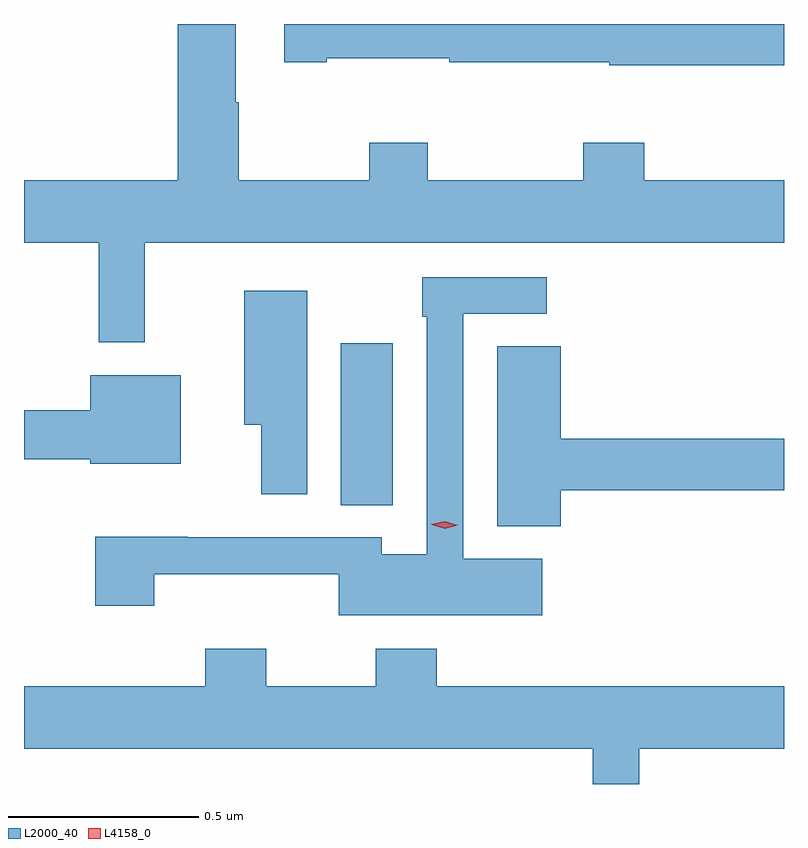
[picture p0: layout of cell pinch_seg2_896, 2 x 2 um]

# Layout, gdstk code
import gdstk
lib = gdstk.Library(unit=1e-6, precision=1e-09)
def R(c, l, rs):  # rectangles x0, y0, x1, y1
    for r in rs: c.add(gdstk.rectangle(r[:2], r[2:], *l))
def P(c, l, *ps):  # polygons
    for p in ps: c.add(gdstk.Polygon(p, *l))
L2000_40 = (2000, 40)
L4158_0 = (4158, 0)

pinch_seg2_896 = lib.new_cell('pinch_seg2_896')
R(pinch_seg2_896, L2000_40, [(486.806,604.321,486.943,604.747)])
P(pinch_seg2_896, L2000_40, [(486.29,605.012),(487.972,605.012),(487.972,605.176),(487.604,605.176),(487.604,605.275),(487.444,605.275),(487.444,605.176),(487.035,605.176),(487.035,605.275),(486.88,605.275),(486.88,605.176),(486.537,605.176),(486.537,605.381),(486.529,605.381),(486.529,605.587),(486.377,605.587),(486.377,605.176),(485.972,605.176),(485.972,605.012),(486.169,605.012),(486.169,604.749),(486.29,604.749)],
  [(487.972,605.587),(486.657,605.587),(486.657,605.487),(486.769,605.487),(486.769,605.497),(487.091,605.497),(487.091,605.487),(487.512,605.487),(487.512,605.478),(487.972,605.478)],
  [(487.336,604.18),(487.128,604.18),(487.128,604.824),(487.348,604.824),(487.348,604.92),(487.02,604.92),(487.02,604.817),(487.032,604.817),(487.032,604.192),(486.913,604.192),(486.913,604.236),(486.403,604.236),(486.403,604.238),(486.16,604.238),(486.16,604.056),(486.315,604.056),(486.315,604.139),(486.8,604.139),(486.8,604.031),(487.336,604.031)],
  [(486.718,604.885),(486.551,604.885),(486.551,604.532),(486.596,604.532),(486.596,604.35),(486.718,604.35)],
  [(487.384,604.36),(487.972,604.36),(487.972,604.496),(487.384,604.496),(487.384,604.739),(487.217,604.739),(487.217,604.265),(487.384,604.265)],
  [(486.385,604.663),(486.146,604.663),(486.146,604.57),(485.972,604.57),(485.972,604.441),(486.146,604.441),(486.146,604.43),(486.385,604.43)],
  [(487.591,603.68),(487.972,603.68),(487.972,603.844),(487.058,603.844),(487.058,603.943),(486.898,603.943),(486.898,603.844),(486.609,603.844),(486.609,603.943),(486.449,603.943),(486.449,603.844),(485.972,603.844),(485.972,603.68),(487.469,603.68),(487.469,603.587),(487.591,603.587)])
P(pinch_seg2_896, L4158_0, [(487.079,604.259),(487.045,604.269),(487.044,604.27),(487.045,604.27),(487.079,604.279),(487.114,604.268),(487.114,604.268),(487.114,604.268)])

lib.write_gds('pinch_seg2_896.gds')
